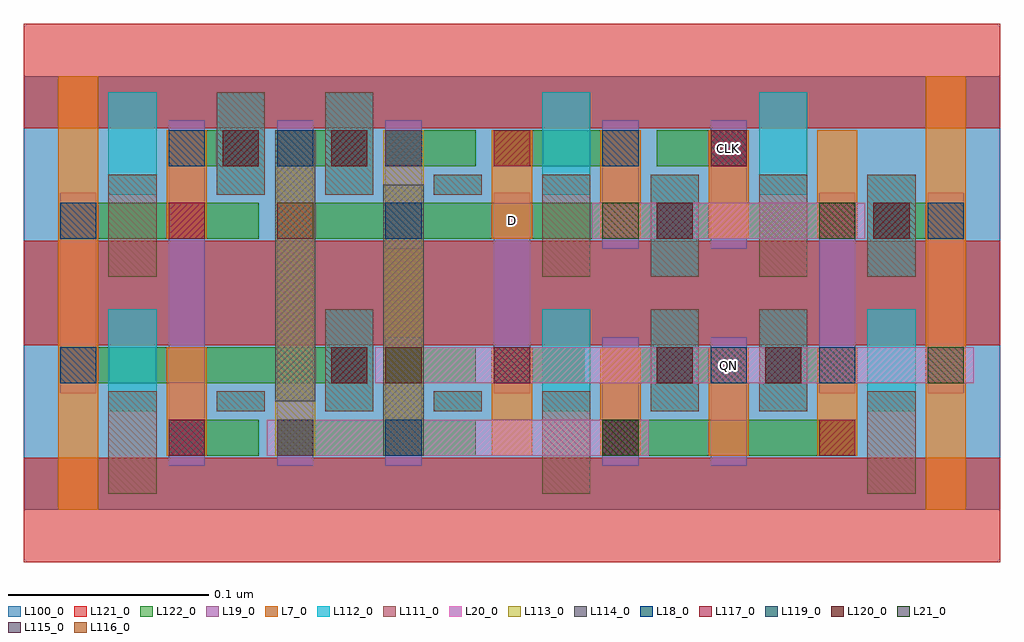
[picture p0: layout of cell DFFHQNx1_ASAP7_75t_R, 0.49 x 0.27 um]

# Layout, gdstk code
import gdstk
lib = gdstk.Library(unit=1e-6, precision=2.5e-10)
def R(c, l, rs):  # rectangles x0, y0, x1, y1
    for r in rs: c.add(gdstk.rectangle(r[:2], r[2:], *l))
def A(c, l, x, y, w, h, nx, ny, dx, dy):  # array of equal rectangles
    R(c, l, [(x+i*dx, y+j*dy, x+i*dx+w, y+j*dy+h) for i in range(nx) for j in range(ny)])
L7_0 = (7, 0)
L18_0 = (18, 0)
L19_0 = (19, 0)
L20_0 = (20, 0)
L21_0 = (21, 0)
L100_0 = (100, 0)
L111_0 = (111, 0)
L112_0 = (112, 0)
L113_0 = (113, 0)
L114_0 = (114, 0)
L115_0 = (115, 0)
L116_0 = (116, 0)
L117_0 = (117, 0)
L119_0 = (119, 0)
L120_0 = (120, 0)
L121_0 = (121, 0)
L122_0 = (122, 0)

dffhqnx1_asap7_75t_r = lib.new_cell('DFFHQNx1_ASAP7_75t_R')
A(dffhqnx1_asap7_75t_r, L7_0, 0.233, 0.027, 0.02, 0.054, 4, 2, 0.054, 0.108)
R(dffhqnx1_asap7_75t_r, L7_0, [(0.017,0,0.037,0.108), (0.449,0,0.469,0.108), (0.071,0.027,0.091,0.081), (0.017,0.108,0.037,0.216), (0.449,0.108,0.469,0.216), (0.071,0.135,0.091,0.189)])
A(dffhqnx1_asap7_75t_r, L18_0, 0.072, 0.027, 0.018, 0.018, 3, 1, 0.108, 0)
A(dffhqnx1_asap7_75t_r, L18_0, 0.072, 0.171, 0.018, 0.018, 3, 1, 0.054, 0)
R(dffhqnx1_asap7_75t_r, L18_0, [(0.018,0.063,0.036,0.081), (0.18,0.063,0.198,0.081), (0.234,0.063,0.252,0.081), (0.342,0.063,0.36,0.081), (0.396,0.063,0.414,0.081), (0.018,0.135,0.036,0.153), (0.18,0.135,0.198,0.153), (0.45,0.135,0.468,0.153), (0.288,0.171,0.306,0.189), (0.342,0.171,0.36,0.189)])
R(dffhqnx1_asap7_75t_r, L19_0, [(0.072,0.022,0.09,0.194), (0.126,0.022,0.144,0.194), (0.18,0.022,0.198,0.086), (0.288,0.022,0.306,0.086), (0.342,0.022,0.36,0.086), (0.018,0.058,0.036,0.158), (0.234,0.058,0.252,0.158), (0.396,0.058,0.414,0.158), (0.45,0.058,0.468,0.158), (0.18,0.13,0.198,0.194), (0.288,0.13,0.306,0.194), (0.342,0.13,0.36,0.194)])
R(dffhqnx1_asap7_75t_r, L20_0, [(0.121,0.027,0.311,0.045), (0.175,0.063,0.473,0.081), (0.283,0.135,0.419,0.153)])
R(dffhqnx1_asap7_75t_r, L21_0, [(0.126,0.027,0.144,0.045), (0.288,0.027,0.306,0.045), (0.18,0.063,0.198,0.081), (0.45,0.063,0.468,0.081), (0.288,0.135,0.306,0.153), (0.396,0.135,0.414,0.153)])
R(dffhqnx1_asap7_75t_r, L100_0, [(0,0,0.486,0.216)])
A(dffhqnx1_asap7_75t_r, L111_0, 0.258, 0.116, 0.024, 0.051, 4, 1, 0.054, 0)
R(dffhqnx1_asap7_75t_r, L111_0, [(0.042,0.008,0.066,0.059), (0.258,0.008,0.282,0.059), (0.42,0.008,0.444,0.059), (0.096,0.049,0.12,0.059), (0.15,0.049,0.174,0.1), (0.204,0.049,0.228,0.059), (0.312,0.049,0.336,0.1), (0.366,0.049,0.39,0.1), (0.042,0.116,0.066,0.167), (0.096,0.157,0.12,0.208), (0.15,0.157,0.174,0.208), (0.204,0.157,0.228,0.167)])
A(dffhqnx1_asap7_75t_r, L112_0, 0.042, 0.049, 0.024, 0.051, 3, 1, 0.108, 0)
A(dffhqnx1_asap7_75t_r, L112_0, 0.312, 0.049, 0.024, 0.051, 3, 1, 0.054, 0)
A(dffhqnx1_asap7_75t_r, L112_0, 0.042, 0.157, 0.024, 0.051, 3, 1, 0.054, 0)
R(dffhqnx1_asap7_75t_r, L112_0, [(0.096,0.049,0.12,0.059), (0.204,0.049,0.228,0.059), (0.312,0.116,0.336,0.167), (0.42,0.116,0.444,0.167), (0.204,0.157,0.228,0.167), (0.258,0.157,0.282,0.208), (0.366,0.157,0.39,0.208)])
R(dffhqnx1_asap7_75t_r, L113_0, [(0.125,0.027,0.145,0.108), (0.179,0.027,0.199,0.108), (0.125,0.108,0.145,0.189), (0.179,0.108,0.199,0.189)])
R(dffhqnx1_asap7_75t_r, L114_0, [(0.179,0.027,0.199,0.108), (0.125,0.054,0.145,0.108), (0.125,0.108,0.145,0.189), (0.179,0.108,0.199,0.162)])
R(dffhqnx1_asap7_75t_r, L115_0, [(0.126,0.027,0.144,0.045), (0.18,0.171,0.198,0.189)])
R(dffhqnx1_asap7_75t_r, L116_0, [(0.18,0.063,0.198,0.081), (0.126,0.135,0.144,0.153)])
R(dffhqnx1_asap7_75t_r, L117_0, [(0.072,0.027,0.09,0.045), (0.288,0.027,0.306,0.045), (0.396,0.027,0.414,0.045), (0.234,0.063,0.252,0.081), (0.072,0.135,0.09,0.153), (0.396,0.135,0.414,0.153), (0.234,0.171,0.252,0.189), (0.342,0.171,0.36,0.189)])
R(dffhqnx1_asap7_75t_r, L119_0, [(0.153,0.063,0.171,0.081), (0.315,0.063,0.333,0.081), (0.369,0.063,0.387,0.081), (0.315,0.135,0.333,0.153), (0.423,0.135,0.441,0.153), (0.099,0.171,0.117,0.189), (0.153,0.171,0.171,0.189)])
R(dffhqnx1_asap7_75t_r, L120_0, [(0.153,0.063,0.171,0.081), (0.315,0.063,0.333,0.081), (0.369,0.063,0.387,0.081), (0.315,0.135,0.333,0.153), (0.423,0.135,0.441,0.153), (0.099,0.171,0.117,0.189), (0.153,0.171,0.171,0.189)])
A(dffhqnx1_asap7_75t_r, L121_0, 0, -0.026, 0.486, 0.052, 1, 3, 0, 0.108)
A(dffhqnx1_asap7_75t_r, L122_0, 0.072, 0.171, 0.045, 0.018, 3, 1, 0.054, 0)
R(dffhqnx1_asap7_75t_r, L122_0, [(0.072,0.027,0.117,0.045), (0.126,0.027,0.225,0.045), (0.288,0.027,0.414,0.045), (0.018,0.063,0.171,0.081), (0.18,0.063,0.225,0.081), (0.234,0.063,0.279,0.081), (0.288,0.063,0.36,0.081), (0.369,0.063,0.414,0.081), (0.018,0.135,0.117,0.153), (0.126,0.135,0.414,0.153), (0.423,0.135,0.468,0.153), (0.234,0.171,0.306,0.189), (0.315,0.171,0.36,0.189)])
dffhqnx1_asap7_75t_r.add(gdstk.Label('QN', (0.351,0.072), layer=19, texttype=251))
dffhqnx1_asap7_75t_r.add(gdstk.Label('D', (0.243,0.144), layer=19, texttype=251))
dffhqnx1_asap7_75t_r.add(gdstk.Label('CLK', (0.351,0.18), layer=19, texttype=251))

lib.write_gds('DFFHQNx1_ASAP7_75t_R.gds')
